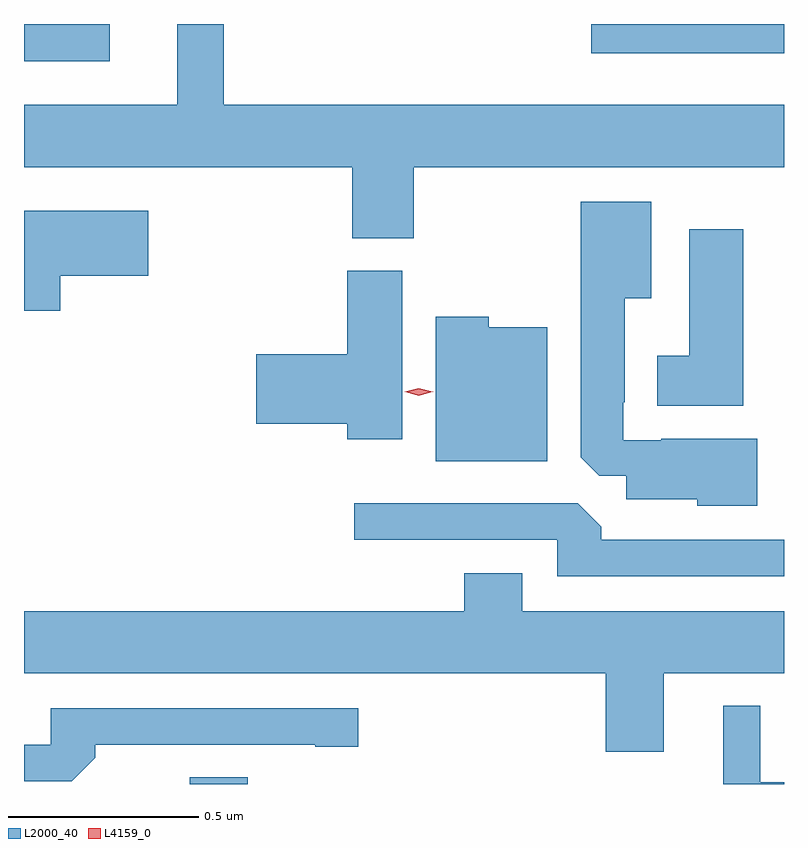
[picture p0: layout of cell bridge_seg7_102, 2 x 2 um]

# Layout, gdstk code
import gdstk
lib = gdstk.Library(unit=1e-6, precision=1e-09)
def R(c, l, rs):  # rectangles x0, y0, x1, y1
    for r in rs: c.add(gdstk.rectangle(r[:2], r[2:], *l))
def P(c, l, *ps):  # polygons
    for p in ps: c.add(gdstk.Polygon(p, *l))
L2000_40 = (2000, 40)
L4159_0 = (4159, 0)

bridge_seg7_102 = lib.new_cell('bridge_seg7_102')
R(bridge_seg7_102, L2000_40, [(1034.954,1005.653,1035.107,1005.671), (1034.518,1007.555,1034.743,1007.653), (1036.011,1007.576,1036.518,1007.653)])
P(bridge_seg7_102, L2000_40, [(1035.543,1007.276),(1036.518,1007.276),(1036.518,1007.44),(1035.043,1007.44),(1035.043,1007.653),(1034.921,1007.653),(1034.921,1007.44),(1034.518,1007.44),(1034.518,1007.276),(1035.382,1007.276),(1035.382,1007.089),(1035.543,1007.089)],
  [(1036.447,1006.561),(1036.195,1006.561),(1036.195,1006.557),(1036.095,1006.557),(1036.095,1006.657),(1036.099,1006.657),(1036.099,1006.931),(1036.168,1006.931),(1036.168,1007.185),(1035.983,1007.185),(1035.983,1006.513),(1036.032,1006.464),(1036.103,1006.464),(1036.103,1006.403),(1036.29,1006.403),(1036.29,1006.385),(1036.447,1006.385)],
  [(1034.614,1006.991),(1034.845,1006.991),(1034.845,1007.161),(1034.518,1007.161),(1034.518,1006.898),(1034.614,1006.898)],
  [(1036.411,1007.113),(1036.268,1007.113),(1036.268,1006.78),(1036.184,1006.78),(1036.184,1006.649),(1036.411,1006.649)],
  [(1035.514,1007.004),(1035.368,1007.004),(1035.368,1006.784),(1035.129,1006.784),(1035.129,1006.601),(1035.368,1006.601),(1035.368,1006.56),(1035.514,1006.56)],
  [(1035.895,1006.855),(1035.741,1006.855),(1035.741,1006.882),(1035.602,1006.882),(1035.602,1006.502),(1035.895,1006.502)],
  [(1036.518,1006.296),(1036.037,1006.296),(1036.037,1006.33),(1035.975,1006.392),(1035.387,1006.392),(1035.387,1006.296),(1035.921,1006.296),(1035.921,1006.2),(1036.518,1006.2)],
  [(1036.201,1005.944),(1036.518,1005.944),(1036.518,1006.108),(1035.829,1006.108),(1035.829,1006.207),(1035.677,1006.207),(1035.677,1006.108),(1034.518,1006.108),(1034.518,1005.944),(1036.049,1005.944),(1036.049,1005.738),(1036.201,1005.738)],
  [(1036.518,1005.657),(1036.456,1005.657),(1036.456,1005.859),(1036.358,1005.859),(1036.358,1005.653),(1036.518,1005.653)],
  [(1034.705,1005.722),(1034.705,1005.756),(1035.284,1005.756),(1035.284,1005.751),(1035.397,1005.751),(1035.397,1005.852),(1034.589,1005.852),(1034.589,1005.756),(1034.518,1005.756),(1034.518,1005.66),(1034.643,1005.66)])
P(bridge_seg7_102, L4159_0, [(1035.557,1006.675),(1035.52,1006.685),(1035.52,1006.685),(1035.52,1006.685),(1035.557,1006.695),(1035.594,1006.685),(1035.595,1006.685),(1035.594,1006.685)])

lib.write_gds('bridge_seg7_102.gds')
